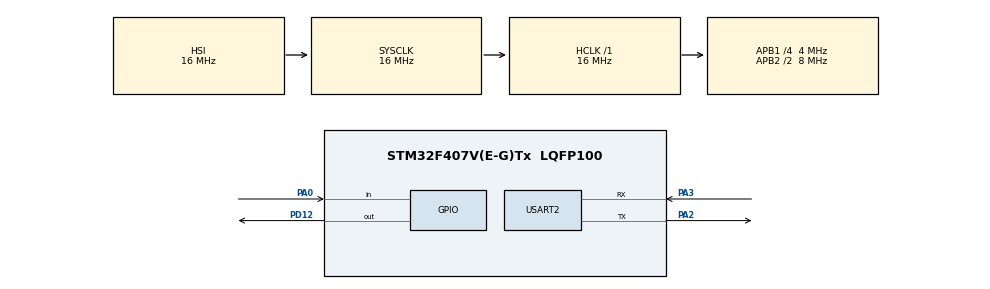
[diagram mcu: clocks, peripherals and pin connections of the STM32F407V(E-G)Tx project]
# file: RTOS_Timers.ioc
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FREERTOS.Tasks01=Task01,24,128,StartDefaultTask,Default,NULL,Dynamic,NULL,NULL;LED_Task02,24,128,StartTask02,Default,NULL,Dynamic,NULL,NULL
FREERTOS.Timers01=PeriodicTimer,PTCallback,osTimerPeriodic,Default,NULL,Dynamic,NULL;onceTimer,OTCallback,osTimerPeriodic,Default,NULL,Dynamic,NULL
Mcu.Family=STM32F4
Mcu.Name=STM32F407V(E-G)Tx
Mcu.Package=LQFP100
NVIC.PriorityGroup=NVIC_PRIORITYGROUP_4
NVIC.TIM6_DAC_IRQn=true\:15\:0\:false\:false\:true\:false\:false\:true\:true
NVIC.TimeBase=TIM6_DAC_IRQn
NVIC.TimeBaseIP=TIM6
NVIC.USART2_IRQn=true\:5\:0\:false\:false\:true\:true\:true\:true\:true
PA0-WKUP.Signal=GPIO_Input
PA2.Mode=Asynchronous
PA2.Signal=USART2_TX
PA3.Mode=Asynchronous
PA3.Signal=USART2_RX
PD12.Signal=GPIO_Output
PH0-OSC_IN.Mode=HSE-External-Oscillator
PH0-OSC_IN.Signal=RCC_OSC_IN
PH1-OSC_OUT.Mode=HSE-External-Oscillator
PH1-OSC_OUT.Signal=RCC_OSC_OUT
ProjectManager.HeapSize=0x200
ProjectManager.StackSize=0x400
ProjectManager.TargetToolchain=STM32CubeIDE
RCC.48MHZClocksFreq_Value=96000000
RCC.AHBFreq_Value=16000000
RCC.APB1CLKDivider=RCC_HCLK_DIV4
RCC.APB1Freq_Value=4000000
RCC.APB1TimFreq_Value=8000000
RCC.APB2CLKDivider=RCC_HCLK_DIV2
RCC.APB2Freq_Value=8000000
RCC.APB2TimFreq_Value=16000000
RCC.CortexFreq_Value=16000000
RCC.HCLKFreq_Value=16000000
RCC.HSE_VALUE=8000000
RCC.HSI_VALUE=16000000
RCC.PLLM=8
RCC.PLLN=336
RCC.PLLQ=7
RCC.SYSCLKFreq_VALUE=16000000
RCC.VCOOutputFreq_Value=672000000
USART2.VirtualMode=VM_ASYNC
VP_FREERTOS_VS_CMSIS_V2.Mode=CMSIS_V2
VP_SYS_VS_tim6.Mode=TIM6
board=STM32F407G-DISC1

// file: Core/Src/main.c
/* USER CODE BEGIN Header */
/**
  ******************************************************************************
  * @file           : main.c
  * @brief          : Main program body
  ******************************************************************************
  * @attention
  *
  * Copyright (c) 2026 STMicroelectronics.
  * All rights reserved.
  *
  * This software is licensed under terms that can be found in the LICENSE file
  * in the root directory of this software component.
  * If no LICENSE file comes with this software, it is provided AS-IS.
  *
  ******************************************************************************
  */
/* USER CODE END Header */
#include "main.h"
#include "cmsis_os.h"

/* USER CODE BEGIN Includes */
#include "stdio.h"
#include "string.h"
/* USER CODE END Includes */

UART_HandleTypeDef huart2;

/* Definitions for Task01 */
osThreadId_t Task01Handle;
const osThreadAttr_t Task01_attributes = {
  .name = "Task01",
  .stack_size = 128 * 4,
  .priority = (osPriority_t) osPriorityNormal,
};
/* Definitions for LED_Task02 */
osThreadId_t LED_Task02Handle;
const osThreadAttr_t LED_Task02_attributes = {
  .name = "LED_Task02",
  .stack_size = 128 * 4,
  .priority = (osPriority_t) osPriorityNormal,
};
/* Definitions for PeriodicTimer */
osTimerId_t PeriodicTimerHandle;
const osTimerAttr_t PeriodicTimer_attributes = {
  .name = "PeriodicTimer"
};
/* Definitions for onceTimer */
osTimerId_t onceTimerHandle;
const osTimerAttr_t onceTimer_attributes = {
  .name = "onceTimer"
};

void SystemClock_Config(void);
static void MX_GPIO_Init(void);
static void MX_USART2_UART_Init(void);
void StartDefaultTask(void *argument);
void StartTask02(void *argument);
void PTCallback(void *argument);
void OTCallback(void *argument);

/* USER CODE BEGIN PFP */
int _write(int file,char *ptr,int len)
{
	int i = 0;
	for(i=0;i<len;i++)
	{
		ITM_SendChar((*ptr++));
	}
	return len;
}

/* USER CODE END PFP */

int main(void)
{

  /* MCU Configuration--------------------------------------------------------*/

  /* Reset of all peripherals, Initializes the Flash interface and the Systick. */
  HAL_Init();

  /* Configure the system clock */
  SystemClock_Config();

  /* Initialize all configured peripherals */
  MX_GPIO_Init();
  MX_USART2_UART_Init();

  /* Init scheduler */
  osKernelInitialize();

  /* Create the timer(s) */
  /* creation of PeriodicTimer */
  PeriodicTimerHandle = osTimerNew(PTCallback, osTimerPeriodic, NULL, &PeriodicTimer_attributes);

  /* creation of onceTimer */
  onceTimerHandle = osTimerNew(OTCallback, osTimerPeriodic, NULL, &onceTimer_attributes);

  /* Create the thread(s) */
  /* creation of Task01 */
  Task01Handle = osThreadNew(StartDefaultTask, NULL, &Task01_attributes);

  /* creation of LED_Task02 */
  LED_Task02Handle = osThreadNew(StartTask02, NULL, &LED_Task02_attributes);

  /* Start scheduler */
  osKernelStart();

  /* We should never get here as control is now taken by the scheduler */

  /* Infinite loop */
  while (1)
  {

  }
}

void SystemClock_Config(void)
{
  RCC_OscInitTypeDef RCC_OscInitStruct = {0};
  RCC_ClkInitTypeDef RCC_ClkInitStruct = {0};

  /** Configure the main internal regulator output voltage
  */
  __HAL_RCC_PWR_CLK_ENABLE();
  __HAL_PWR_VOLTAGESCALING_CONFIG(PWR_REGULATOR_VOLTAGE_SCALE1);

  /** Initializes the RCC Oscillators according to the specified parameters
  * in the RCC_OscInitTypeDef structure.
  */
  RCC_OscInitStruct.OscillatorType = RCC_OSCILLATORTYPE_HSI;
  RCC_OscInitStruct.HSIState = RCC_HSI_ON;
  RCC_OscInitStruct.HSICalibrationValue = RCC_HSICALIBRATION_DEFAULT;
  RCC_OscInitStruct.PLL.PLLState = RCC_PLL_NONE;
  if (HAL_RCC_OscConfig(&RCC_OscInitStruct) != HAL_OK)
  {
    Error_Handler();
  }

  /** Initializes the CPU, AHB and APB buses clocks
  */
  RCC_ClkInitStruct.ClockType = RCC_CLOCKTYPE_HCLK|RCC_CLOCKTYPE_SYSCLK
                              |RCC_CLOCKTYPE_PCLK1|RCC_CLOCKTYPE_PCLK2;
  RCC_ClkInitStruct.SYSCLKSource = RCC_SYSCLKSOURCE_HSI;
  RCC_ClkInitStruct.AHBCLKDivider = RCC_SYSCLK_DIV1;
  RCC_ClkInitStruct.APB1CLKDivider = RCC_HCLK_DIV4;
  RCC_ClkInitStruct.APB2CLKDivider = RCC_HCLK_DIV2;

  if (HAL_RCC_ClockConfig(&RCC_ClkInitStruct, FLASH_LATENCY_0) != HAL_OK)
  {
    Error_Handler();
  }
}

static void MX_USART2_UART_Init(void)
{

  huart2.Instance = USART2;
  huart2.Init.BaudRate = 115200;
  huart2.Init.WordLength = UART_WORDLENGTH_8B;
  huart2.Init.StopBits = UART_STOPBITS_1;
  huart2.Init.Parity = UART_PARITY_NONE;
  huart2.Init.Mode = UART_MODE_TX_RX;
  huart2.Init.HwFlowCtl = UART_HWCONTROL_NONE;
  huart2.Init.OverSampling = UART_OVERSAMPLING_16;
  if (HAL_UART_Init(&huart2) != HAL_OK)
  {
    Error_Handler();
  }

}

static void MX_GPIO_Init(void)
{
  GPIO_InitTypeDef GPIO_InitStruct = {0};

  /* GPIO Ports Clock Enable */
  __HAL_RCC_GPIOH_CLK_ENABLE();
  __HAL_RCC_GPIOA_CLK_ENABLE();
  __HAL_RCC_GPIOD_CLK_ENABLE();

  /*Configure GPIO pin Output Level */
  HAL_GPIO_WritePin(GPIOD, GPIO_PIN_12, GPIO_PIN_RESET);

  /*Configure GPIO pin : PA0 */
  GPIO_InitStruct.Pin = GPIO_PIN_0;
  GPIO_InitStruct.Mode = GPIO_MODE_INPUT;
  GPIO_InitStruct.Pull = GPIO_NOPULL;
  HAL_GPIO_Init(GPIOA, &GPIO_InitStruct);

  /*Configure GPIO pin : PD12 */
  GPIO_InitStruct.Pin = GPIO_PIN_12;
  GPIO_InitStruct.Mode = GPIO_MODE_OUTPUT_PP;
  GPIO_InitStruct.Pull = GPIO_NOPULL;
  GPIO_InitStruct.Speed = GPIO_SPEED_FREQ_LOW;
  HAL_GPIO_Init(GPIOD, &GPIO_InitStruct);

}

void StartDefaultTask(void *argument)
{
  /* USER CODE BEGIN 5 */
  /* Infinite loop */
	osTimerStart(PeriodicTimerHandle, 1000);
  for(;;)
  {
	  printf("Periodic Timer enable\r\n");
      osDelay(2000);
  }
  /* USER CODE END 5 */
}

void StartTask02(void *argument)
{
  /* USER CODE BEGIN StartTask02 */
  /* Infinite loop */

  for(;;)
  {
	  if (HAL_GPIO_ReadPin(GPIOA,GPIO_PIN_0))
	  {
		  HAL_GPIO_WritePin(GPIOD,GPIO_PIN_12,1);
		  osTimerStart(onceTimerHandle, 1000);
	  }
	  	  osDelay(100);

  }
  /* USER CODE END StartTask02 */
}

/* PTCallback function */
void PTCallback(void *argument)
{
  /* USER CODE BEGIN PTCallback */
printf("Sending from Periodic Timer\r\n");
  /* USER CODE END PTCallback */
}

/* OTCallback function */
void OTCallback(void *argument)
{
  /* USER CODE BEGIN OTCallback */
	 HAL_GPIO_WritePin(GPIOD,GPIO_PIN_12,0);
  /* USER CODE END OTCallback */
}

void HAL_TIM_PeriodElapsedCallback(TIM_HandleTypeDef *htim)
{
  if (htim->Instance == TIM6)
  {
    HAL_IncTick();
  }
}

void Error_Handler(void)
{
  __disable_irq();
  while (1)
  {
  }
}
